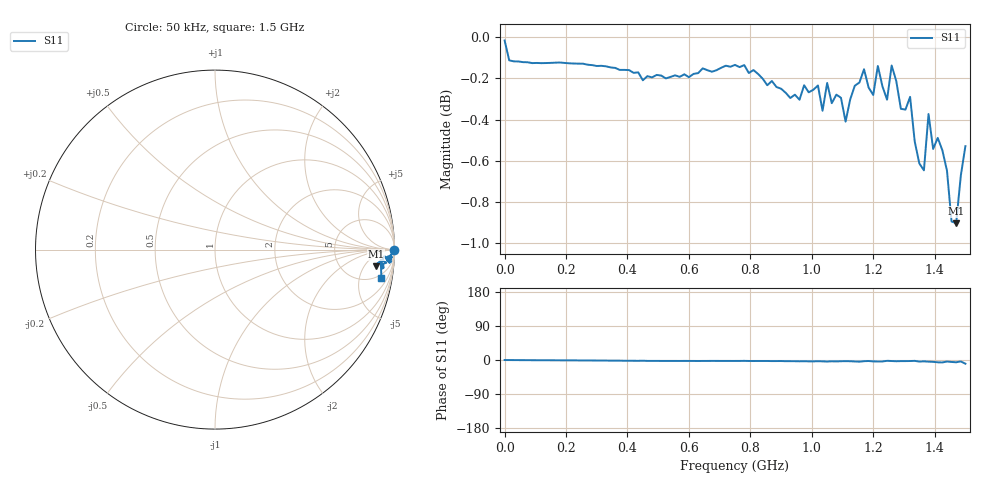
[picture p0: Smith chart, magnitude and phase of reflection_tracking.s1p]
! Created with skrf 1.8.0 (http://scikit-rf.org).
# Hz S RI R 50.0
!freq ReS11 ImS11
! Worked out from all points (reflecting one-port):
!   101 points, 50 kHz to 1.5 GHz, reference 50 ohm
!   lowest |S11| = -0.9 dB at 1.47 GHz (marker M1), VSWR 19.24, Z = 481 - j480 ohm
!   phase of S11 starts at -0 deg and turns -10 deg over the sweep
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50000  0.9982 -0.00146
1.950435e8  0.9856 -0.0155
3.750375e8  0.9814 -0.0304
5.70031e8  0.9771 -0.0432
7.50025e8  0.9837 -0.0429
9.450185e8  0.9669 -0.0536
1.035016e9  0.9578 -0.06
1.050015e9  0.9723 -0.0687
1.110013e9  0.9526 -0.0495
1.125012e9  0.9642 -0.0552
1.155012e9  0.9721 -0.0748
1.18501e9  0.9712 -0.045
1.21501e9  0.9818 -0.0674
1.230009e9  0.9707 -0.0659
1.245008e9  0.965 -0.0364
1.260008e9  0.9832 -0.0464
1.290007e9  0.9595 -0.0491
1.320006e9  0.9661 -0.0458
1.335006e9  0.9426 -0.0374
1.350005e9  0.9293 -0.0686
1.365004e9  0.9265 -0.0568
1.380004e9  0.9552 -0.0731
1.425002e9  0.9328 -0.1055
1.440002e9  0.9258 -0.0649
1.455002e9  0.8984 -0.0813
1.470001e9  0.8963 -0.0937
1.485e9  0.9234 -0.0601
1.5e9  0.9272 -0.1596
